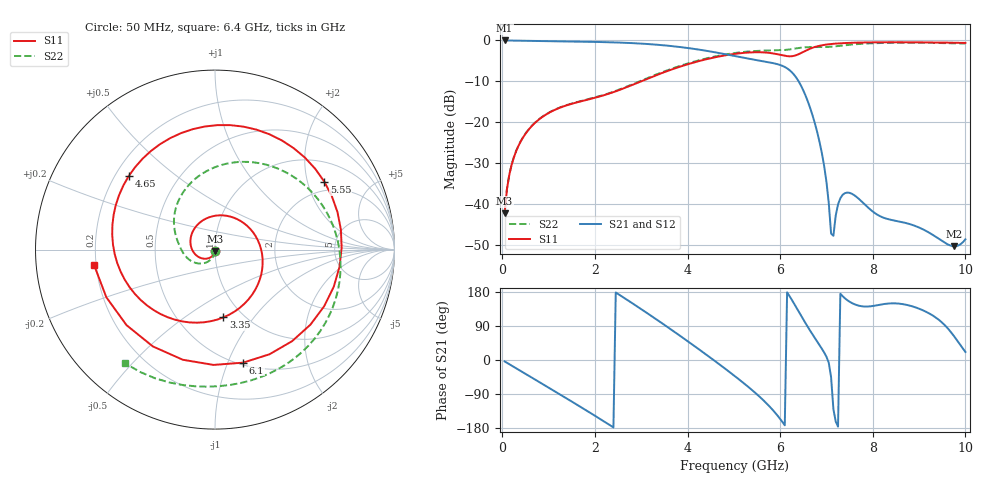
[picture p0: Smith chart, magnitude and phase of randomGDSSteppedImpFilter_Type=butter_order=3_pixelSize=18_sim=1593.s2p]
! freq	dB(S11)	phase(S11)	dB(S12)	phase(S12)
!  dB(S21)	phase(S21)	dB(S22)	phase(S22)
!S-par simulation data
#  GHz  S  DB  R 50
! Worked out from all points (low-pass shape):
!   200 points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, 50 MHz to 10 GHz, reference 50 ohm
!   highest |S21| = -0.01 dB at 50 MHz (marker M1); lowest = -50.3 dB at 9.75 GHz (marker M2)
!   |S21| within 3 dB of the highest: start of sweep to 4.645 GHz
!   lowest |S11| = -42.3 dB at 50 MHz (marker M3), VSWR 1.02, Z = 50 - j0.771 ohm
!   |S11| at or under -10 dB: start of sweep to 2.997 GHz
!   |S22| runs from -42.3 to -0.6 dB; largest |S21 - S12| = 0
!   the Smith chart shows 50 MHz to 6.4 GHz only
!   S11 on the Smith chart (normalised r, x): 50 MHz: 1.00, -0.02; 3.35 GHz: 0.81, -0.72; 4.65 GHz: 0.25, +0.35; 5.55 GHz: 1.64, +2.56; 6.1 GHz: 0.52, -1.14; 6.4 GHz: 0.19, -0.06
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0.05  -42.26 -90.4  -0.01 -3.7  -0.01 -3.7  -42.32 -88.4
0.2  -30.48 -107.0  -0.03 -14.7  -0.03 -14.7  -30.43 -100.4
0.5  -22.84 -135.1  -0.08 -36.5  -0.08 -36.5  -22.78 -118.3
1.15  -16.89 163.3  -0.20 -83.9  -0.20 -83.9  -16.84 -152.5
1.75  -14.74 100.0  -0.31 -128.2  -0.31 -128.2  -14.68 -178.0
2.55  -12.03 6.3  -0.53 170.3  -0.53 170.3  -11.90 152.9
3.35  -8.39 -82.9  -1.06 105.3  -1.06 105.3  -8.22 112.1
3.4  -8.18 -88.2  -1.11 101.1  -1.11 101.1  -8.00 109.1
4.1  -5.51 -161.6  -2.00 41.1  -2.00 41.1  -5.31 62.4
4.65  -3.99 139.6  -3.02 -8.0  -3.02 -8.0  -3.79 22.7
5.05  -3.25 94.7  -3.88 -45.3  -3.88 -45.3  -3.04 -7.1
5.55  -2.89 31.8  -4.94 -96.2  -4.94 -96.2  -2.54 -45.8
5.85  -3.18 -17.4  -5.55 -133.1  -5.55 -133.1  -2.44 -70.6
6.1  -3.76 -76.1  -6.49 -172.3  -6.49 -172.3  -2.33 -93.3
6.4  -3.36 -172.8  -10.02 128.0  -10.02 128.0  -1.86 -128.3
6.7  -1.78 107.7  -18.35 67.3  -18.35 67.3  -1.63 -178.6
6.95  -1.09 66.1  -30.69 19.9  -30.69 19.9  -1.63 131.1
7.1  -0.88 47.8  -47.24 -45.4  -47.24 -45.4  -1.54 100.4
7.6  -0.56 4.6  -37.84 147.4  -37.84 147.4  -0.96 18.9
8.35  -0.45 -37.2  -43.75 149.2  -43.75 149.2  -0.60 -46.6
9.75  -0.56 -90.5  -50.30 63.7  -50.30 63.7  -0.70 -110.1
10  -0.61 -98.7  -48.63 21.2  -48.63 21.2  -0.76 -119.1
